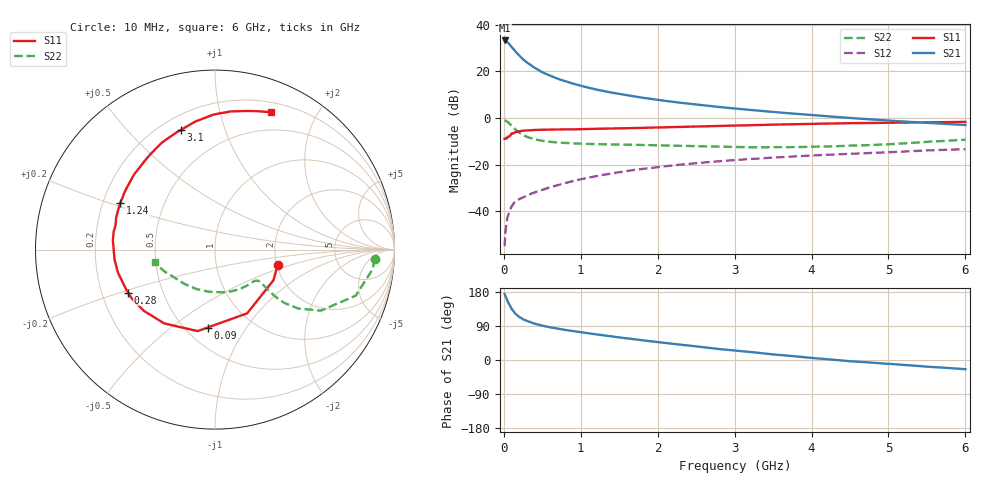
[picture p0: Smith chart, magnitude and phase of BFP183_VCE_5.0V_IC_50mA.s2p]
! Infineon Technologies  Discrete & RF Semiconductors
! BFP183
! VCE = 5.0 V,  IC =  50 mA
! Common Emitter S-Parameters:  Jan 2016
# GHz  S  MA  R  50
!  f  S11  S21  S12  S22
! GHz  MAG  ANG  MAG  ANG  MAG  ANG  MAG  ANG
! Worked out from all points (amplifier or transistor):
!   210 points, 10 MHz to 6 GHz, reference 50 ohm
!   highest |S21| = 33.2 dB at 10 MHz (marker M1)
!   |S21| within 3 dB of that: start of sweep to 107.4 MHz
!   unconditionally stable (mu >= 1): start of sweep to 11.28 MHz; 444.8 MHz to end of sweep
!   at 185 MHz: K = 0.62, MSG = 31.1 dB, |S12| = -35.0 dB
!   at 1.52 GHz: K = 1.27, MAG = 13.5 dB, |S12| = -23.1 dB
!   at 6 GHz: K = 1.01, MAG = 4.4 dB, |S12| = -13.4 dB
!   S11 on the Smith chart (normalised r, x): 10 MHz: 2.02, -0.40; 90 MHz: 0.64, -0.68; 280 MHz: 0.31, -0.21; 1.24 GHz: 0.27, +0.22; 3.1 GHz: 0.28, +0.72; 6 GHz: 0.30, +1.44
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0.01  0.3598 -13.9  45.8 174.2  0.0018 80.3  0.8933 -3.3
0.02  0.3677 -27.7  45.56 169.2  0.0035 77.6  0.8837 -7.3
0.05  0.3977 -63.2  42.05 153.7  0.0078 72.9  0.825 -18.1
0.09  0.4362 -95.4  34.88 139.2  0.0117 59.1  0.7075 -27.2
0.1  0.4642 -102.0  33.52 134.7  0.0127 57.0  0.6815 -29.9
0.15  0.4992 -124.5  26.69 122.0  0.0165 53.0  0.566 -35.4
0.2  0.5228 -139.2  21.69 113.5  0.0183 51.7  0.4866 -37.6
0.24  0.5338 -147.3  18.73 108.7  0.0196 52.0  0.4436 -37.9
0.28  0.54 -153.7  16.45 104.8  0.0211 52.3  0.4099 -37.8
0.3  0.543 -156.6  15.43 102.8  0.0219 52.4  0.3946 -37.6
0.4  0.556 -166.9  11.88 95.7  0.0255 54.4  0.35 -36.7
0.5  0.5624 -174.5  9.554 90.6  0.0289 55.9  0.3239 -36.0
0.7  0.5714 174.6  6.912 82.6  0.0366 59.0  0.2984 -35.8
0.8  0.5733 170.0  6.109 79.2  0.0405 59.5  0.2919 -36.3
1.02  0.5795 161.3  4.799 72.6  0.0495 60.0  0.2812 -38.5
1.24  0.5872 153.8  3.954 66.6  0.0584 59.7  0.2755 -41.5
1.5  0.5994 145.8  3.279 59.5  0.0691 58.4  0.27 -45.8
2.02  0.6247 130.7  2.414 46.9  0.09 54.3  0.2605 -56.8
3.1  0.6931 106.0  1.544 23.1  0.1289 44.2  0.2375 -85.9
4.1  0.7561 89.1  1.125 3.9  0.1604 34.7  0.2438 -118.6
5.1  0.7937 76.7  0.86 -11.6  0.1878 26.4  0.2795 -147.8
6  0.826 67.9  0.708 -24.3  0.215 17.6  0.3439 -168.3
